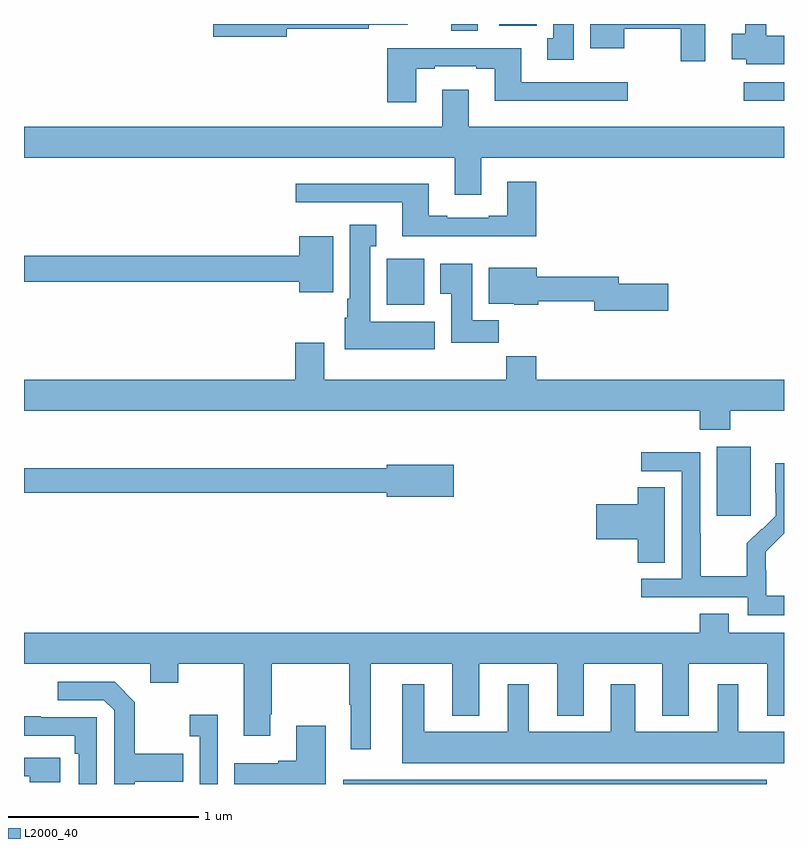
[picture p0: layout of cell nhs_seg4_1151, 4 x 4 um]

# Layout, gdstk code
import gdstk
lib = gdstk.Library(unit=1e-6, precision=1e-09)
def R(c, l, rs):  # rectangles x0, y0, x1, y1
    for r in rs: c.add(gdstk.rectangle(r[:2], r[2:], *l))
def P(c, l, *ps):  # polygons
    for p in ps: c.add(gdstk.Polygon(p, *l))
L2000_40 = (2000, 40)

nhs_seg4_1151 = lib.new_cell('nhs_seg4_1151')
R(nhs_seg4_1151, L2000_40, [(172.68,750.9,174.91,750.922), (174.647,752.313,174.826,752.674), (172.91,753.422,173.107,753.664), (174.789,754.496,175,754.593), (173.249,754.865,173.389,754.9), (173.501,754.892,173.698,754.9)])
P(nhs_seg4_1151, L2000_40, [(173.893,754.9),(173.786,754.9),(173.786,754.826),(173.753,754.826),(173.753,754.713),(173.893,754.713)],
  [(175,754.837),(174.907,754.837),(174.907,754.9),(174.797,754.9),(174.797,754.85),(174.725,754.85),(174.725,754.715),(174.801,754.715),(174.801,754.688),(175,754.688)],
  [(174.586,754.9),(173.981,754.9),(173.981,754.772),(174.16,754.772),(174.16,754.876),(174.457,754.876),(174.457,754.704),(174.586,754.704)],
  [(172.384,754.876),(172.814,754.876),(172.814,754.896),(173.02,754.896),(173.02,754.9),(171.996,754.9),(171.996,754.834),(172.384,754.834)],
  [(173.065,754.665),(173.161,754.665),(173.161,754.677),(173.381,754.677),(173.381,754.665),(173.477,754.665),(173.477,754.496),(174.178,754.496),(174.178,754.593),(173.617,754.593),(173.617,754.773),(172.913,754.773),(172.913,754.488),(173.065,754.488)],
  [(173.407,754.196),(175,754.196),(175,754.36),(173.341,754.36),(173.341,754.555),(173.201,754.555),(173.201,754.36),(171,754.36),(171,754.196),(173.267,754.196),(173.267,754.002),(173.407,754.002)],
  [(173.696,754.069),(173.543,754.069),(173.543,753.892),(173.447,753.892),(173.447,753.879),(173.227,753.879),(173.227,753.892),(173.131,753.892),(173.131,754.06),(172.431,754.06),(172.431,753.963),(172.991,753.963),(172.991,753.782),(173.696,753.782)],
  [(173.161,753.334),(172.822,753.334),(172.822,753.731),(172.855,753.731),(172.855,753.844),(172.715,753.844),(172.715,753.454),(172.7,753.454),(172.7,753.354),(172.688,753.354),(172.688,753.188),(173.161,753.188)],
  [(172.627,753.784),(172.448,753.784),(172.448,753.68),(171,753.68),(171,753.544),(172.448,753.544),(172.448,753.488),(172.627,753.488)],
  [(173.498,753.34),(173.359,753.34),(173.359,753.637),(173.192,753.637),(173.192,753.481),(173.249,753.481),(173.249,753.222),(173.498,753.222)],
  [(174.391,753.533),(174.13,753.533),(174.13,753.569),(173.698,753.569),(173.698,753.616),(173.447,753.616),(173.447,753.428),(173.58,753.428),(173.58,753.422),(173.706,753.422),(173.706,753.441),(174.002,753.441),(174.002,753.391),(174.391,753.391)],
  [(174.717,752.864),(175,752.864),(175,753.028),(173.696,753.028),(173.696,753.152),(173.539,753.152),(173.539,753.028),(172.579,753.028),(172.579,753.223),(172.427,753.223),(172.427,753.028),(171,753.028),(171,752.864),(174.557,752.864),(174.557,752.765),(174.717,752.765)],
  [(175,751.891),(174.906,751.891),(174.906,752.025),(174.904,752.025),(174.904,752.122),(174.978,752.196),(174.977,752.197),(175,752.22),(175,752.588),(174.954,752.588),(174.954,752.434),(174.956,752.434),(174.956,752.312),(174.885,752.241),(174.882,752.244),(174.805,752.167),(174.805,751.993),(174.561,751.993),(174.561,752.216),(174.558,752.216),(174.558,752.646),(174.249,752.646),(174.249,752.547),(174.462,752.547),(174.462,751.98),(174.249,751.98),(174.249,751.884),(174.81,751.884),(174.81,751.787),(175,751.787)],
  [(173.263,752.581),(172.91,752.581),(172.91,752.563),(171,752.563),(171,752.434),(172.91,752.434),(172.91,752.411),(173.263,752.411)],
  [(174.373,752.462),(174.23,752.462),(174.23,752.372),(174.012,752.372),(174.012,752.189),(174.23,752.189),(174.23,752.065),(174.373,752.065)],
  [(171,751.532),(171.665,751.532),(171.665,751.433),(171.813,751.433),(171.813,751.532),(172.157,751.532),(172.157,751.155),(172.297,751.155),(172.297,751.267),(172.305,751.267),(172.305,751.532),(172.711,751.532),(172.711,751.316),(172.721,751.316),(172.721,751.083),(172.825,751.083),(172.825,751.532),(173.255,751.532),(173.255,751.259),(173.395,751.259),(173.395,751.532),(173.807,751.532),(173.807,751.259),(173.947,751.259),(173.947,751.532),(174.359,751.532),(174.359,751.259),(174.499,751.259),(174.499,751.532),(174.911,751.532),(174.911,751.259),(175,751.259),(175,751.696),(174.709,751.696),(174.709,751.795),(174.557,751.795),(174.557,751.696),(171,751.696)],
  [(171.583,750.911),(171.839,750.911),(171.839,751.059),(171.583,751.059),(171.583,751.331),(171.477,751.437),(171.177,751.437),(171.177,751.341),(171.42,751.341),(171.474,751.287),(171.474,750.9),(171.583,750.9)],
  [(175,751.174),(174.76,751.174),(174.76,751.426),(174.65,751.426),(174.65,751.174),(174.217,751.174),(174.217,751.426),(174.089,751.426),(174.089,751.174),(173.656,751.174),(173.656,751.426),(173.546,751.426),(173.546,751.174),(173.107,751.174),(173.107,751.426),(172.991,751.426),(172.991,751.01),(175,751.01)],
  [(172.02,751.264),(171.873,751.264),(171.873,751.151),(171.924,751.151),(171.924,750.9),(172.02,750.9)],
  [(171.384,751.251),(171.089,751.251),(171.089,751.256),(171,751.256),(171,751.155),(171.268,751.155),(171.268,751.058),(171.288,751.058),(171.288,750.9),(171.384,750.9)],
  [(172.588,751.207),(172.433,751.207),(172.433,751.022),(172.337,751.022),(172.337,751.009),(172.107,751.009),(172.107,750.9),(172.588,750.9)],
  [(171.19,751.038),(171,751.038),(171,750.942),(171.029,750.942),(171.029,750.908),(171.19,750.908)])

lib.write_gds('nhs_seg4_1151.gds')
